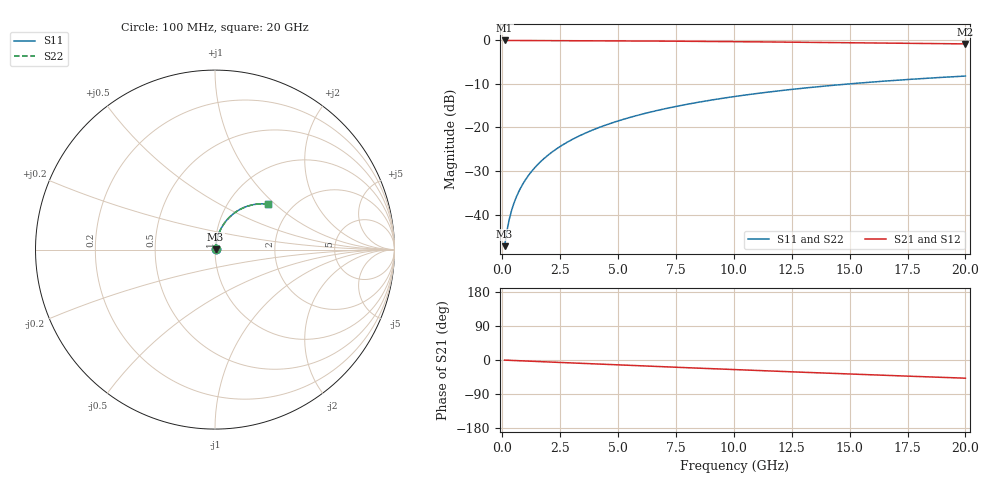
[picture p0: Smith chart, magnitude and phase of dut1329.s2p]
! Touchstone file exported from HFSS 2026.1.0
!  File:  C:/ffzhzh/LocalFiles/Ansys_Project_Files/temp_train_BSMRDL_1329_1783178663_22436.aedt
!  Generated:  11:25:34 PM Jul  4, 2026
!  Design:  BSMRDL
!  Project:  temp_train_BSMRDL_1329_1783178663_22436
! Variables:
!  h_bsmrdl = 2.85um
!  h_ox = 20um
!  h_rdl = 5um
!  h_sub = 80um
!  h_tmrdl = 5um
!  h_tsv = 80um
!  h_via = 3um
!  l_bsmrdl = 722.98um
!  l_sub = 1122.98um
!  l_tmrdl = 200um
!  m_sub = 200um
!  pitch = 55.54um
!  r_tsv = 6um
!  s_tmrdl = 10um
!  w_bsmrdl = 29.39um
!  w_sub = 500um
!  w_tmrdl = 12um
!  x_tsv_center1 = 206um
!  x_tsv_center2 = 958.37um
!  x_tsv_center3 = 1170.37um
!  x_tsv_center4 = 1922.74um
!  x_tsv_center5 = 2134.74um
!  x_tsv_center6 = 2887.11um
# GHz S MA R 50.000000
! Terminal data exported
! Port[1] = BSM_RDL1_1_T1
! Port[2] = BSM_RDL1_1_T2
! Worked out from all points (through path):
!   200 points, 100 MHz to 20 GHz, reference 50 ohm
!   highest |S21| = -0.03 dB at 100 MHz (marker M1); lowest = -0.8 dB at 20 GHz (marker M2)
!   group delay of S21, straight-line fit = 6.68 ps
!   lowest |S11| = -47.2 dB at 100 MHz (marker M3), VSWR 1.01, Z = 50.3 + j0.275 ohm
!   |S11| at or under -10 dB: start of sweep to 14.98 GHz
!   |S22| runs from -47.2 to -8.2 dB; largest |S21 - S12| = 3.5e-15
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0.1  0.004344 39.0  0.9966 -0.3  0.9966 -0.3  0.004344 39.0
! Gamma 0 0 0 0
! Port Impedance 50 0 50 0
0.2  0.006474 56.1  0.9964 -0.6  0.9964 -0.6  0.006474 56.1
0.3  0.0088 63.7  0.9962 -0.8  0.9962 -0.8  0.0088 63.7
0.4  0.01113 67.9  0.996 -1.1  0.996 -1.1  0.01113 67.9
0.5  0.01345 70.7  0.9958 -1.3  0.9958 -1.3  0.01345 70.7
0.6  0.01577 72.7  0.9956 -1.6  0.9956 -1.6  0.01577 72.6
0.8  0.0204 75.3  0.9954 -2.1  0.9954 -2.1  0.0204 75.3
1.1  0.02742 77.4  0.9951 -2.9  0.9951 -2.9  0.02742 77.4
1.3  0.03213 78.2  0.9948 -3.4  0.9948 -3.4  0.03213 78.2
1.6  0.03923 78.8  0.9945 -4.2  0.9945 -4.2  0.03923 78.8
2.1  0.05108 79.0  0.9938 -5.5  0.9938 -5.5  0.05108 79.0
2.7  0.06529 78.5  0.9928 -7.0  0.9928 -7.0  0.06529 78.5
3.5  0.08412 77.3  0.9911 -9.1  0.9911 -9.1  0.08412 77.3
4.2  0.1004 76.0  0.9893 -10.8  0.9893 -10.8  0.1004 75.9
5  0.1188 74.3  0.987 -12.9  0.987 -12.9  0.1188 74.2
5.9  0.1392 72.2  0.9839 -15.1  0.9839 -15.1  0.1392 72.2
6.8  0.1591 70.2  0.9805 -17.4  0.9805 -17.4  0.1591 70.1
8.3  0.1913 66.6  0.974 -21.1  0.974 -21.1  0.1913 66.6
10.1  0.228 62.4  0.9653 -25.5  0.9653 -25.5  0.228 62.4
13.4  0.2895 54.9  0.9476 -33.3  0.9476 -33.3  0.2895 54.8
16.7  0.3433 47.5  0.9289 -40.8  0.9289 -40.8  0.3433 47.5
20  0.389 40.5  0.9104 -48.0  0.9104 -48.0  0.389 40.4
